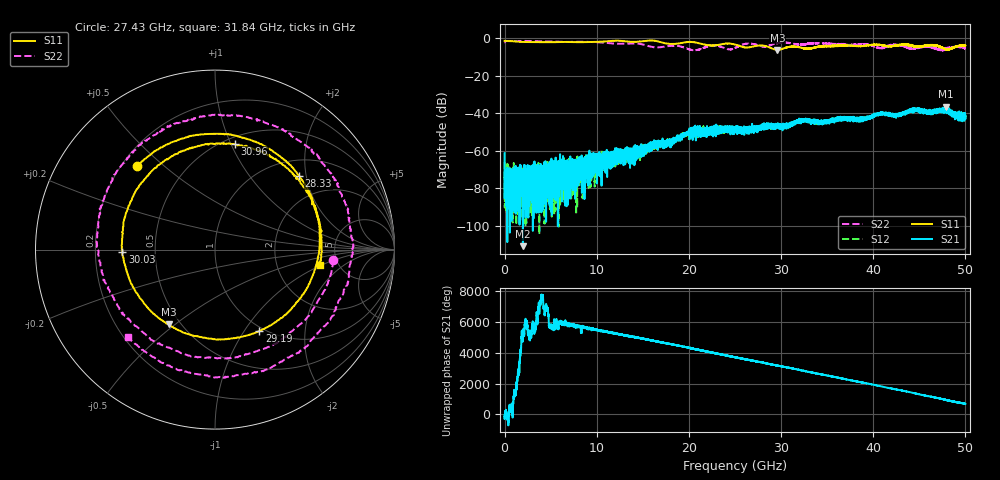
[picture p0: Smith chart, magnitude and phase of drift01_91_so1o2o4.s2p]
!Created with skrf (http://scikit-rf.org).
# Hz S RI R 50.0
!freq ReS11 ImS11 ReS21 ImS21 ReS12 ImS12 ReS22 ImS22
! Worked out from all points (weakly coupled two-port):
!   10001 points, 300 kHz to 50 GHz, reference 50 ohm
!   highest |S21| = -36.39 dB at 47.91 GHz (marker M1); lowest = -110.9 dB at 1.985 GHz (marker M2)
!   lowest |S11| = -6.2 dB at 29.61 GHz (marker M3), VSWR 2.92, Z = 21.7 - j23.8 ohm
!   |S11| at or under -10 dB: nowhere
!   |S22| runs from -6.6 to -1.4 dB; largest |S21 - S12| = 0.0045
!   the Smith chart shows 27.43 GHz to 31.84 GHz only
!   S11 on the Smith chart (normalised r, x): 27.43 GHz: 0.26, +0.41; 28.33 GHz: 1.35, +1.82; 29.19 GHz: 0.95, -1.18; 30.03 GHz: 0.32, -0.01; 30.96 GHz: 0.57, +1.04; 31.84 GHz: 3.61, -0.98
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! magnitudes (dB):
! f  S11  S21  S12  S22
! 300 kHz  -1.3  -61.3  -65.8  -2.1
! 310.3 MHz  -1.4  -78.6  -91.3  -1.4
! 1.985 GHz  -1.9  -110.9  -81.6  -1.4
! 5.94 GHz  -2.0  -76.1  -89.4  -1.8
! 8.335 GHz  -2.0  -67.7  -70.7  -1.8
! 16.67 GHz  -1.6  -55.7  -55.1  -4.8
! 20.36 GHz  -2.0  -47.6  -50.1  -6.3
! 22.61 GHz  -3.8  -50.4  -49.1  -3.8
! 25 GHz  -3.3  -49.4  -48.3  -5.1
! 27.43 GHz  -3.9  -46.7  -48.1  -3.6
! 28.33 GHz  -4.1  -46.9  -47.2  -4.3
! 29.19 GHz  -5.7  -47.6  -46.1  -3.1
! 29.61 GHz  -6.2  -47.2  -47.7  -2.5
! 30.03 GHz  -5.7  -47.2  -46.9  -2.3
! 30.96 GHz  -4.5  -46.1  -46.3  -2.5
! 31.84 GHz  -4.6  -44.7  -44.7  -3.3
! 33.34 GHz  -5.2  -44.9  -44.3  -2.6
! 41.67 GHz  -4.2  -40.3  -39.9  -4.5
! 44.52 GHz  -4.2  -38.1  -38.0  -5.5
! 46.52 GHz  -3.6  -39.0  -39.3  -5.2
! 47.91 GHz  -5.9  -36.4  -39.2  -5.1
! 50 GHz  -3.9  -42.7  -41.2  -5.4
